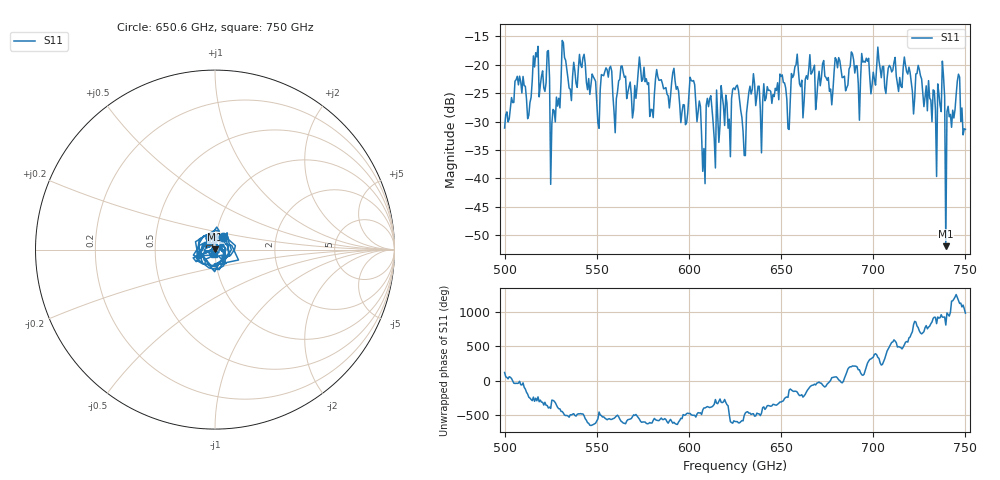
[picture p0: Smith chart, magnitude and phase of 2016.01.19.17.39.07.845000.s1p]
!Created with skrf (http://scikit-rf.org).
# GHz S RI R 50.0
!freq ReS11 ImS11
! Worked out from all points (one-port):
!   401 points, 500 GHz to 750 GHz, reference 50 ohm
!   lowest |S11| = -51.9 dB at 739.4 GHz (marker M1), VSWR 1.01, Z = 50 + j0.252 ohm
!   |S11| at or under -10 dB: start of sweep to end of sweep
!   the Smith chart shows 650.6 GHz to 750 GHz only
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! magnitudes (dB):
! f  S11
! 500 GHz  -31.1
! 506.9 GHz  -22.0
! 513.1 GHz  -28.9
! 516.9 GHz  -17.9
! 523.1 GHz  -17.7
! 526.2 GHz  -27.9
! 531.2 GHz  -15.7
! 541.9 GHz  -20.5
! 550.6 GHz  -30.3
! 562.5 GHz  -22.6
! 593.8 GHz  -23.8
! 598.1 GHz  -30.5
! 601.9 GHz  -22.9
! 607.5 GHz  -38.8
! 610.6 GHz  -27.4
! 615 GHz  -24.4
! 625 GHz  -24.4
! 630 GHz  -36.0
! 634.4 GHz  -24.3
! 653.8 GHz  -31.2
! 656.2 GHz  -22.2
! 687.5 GHz  -20.3
! 718.8 GHz  -21.6
! 733.1 GHz  -24.6
! 737.5 GHz  -19.4
! 739.4 GHz  -51.9
! 745.6 GHz  -22.9
! 750 GHz  -31.4
